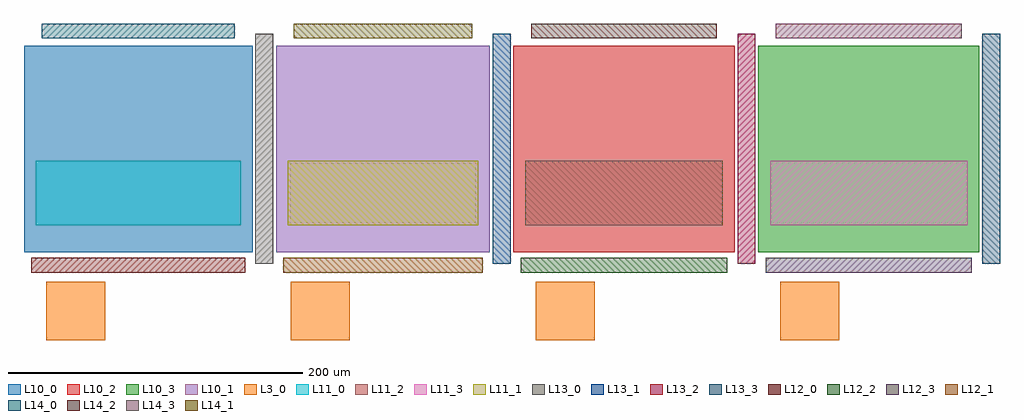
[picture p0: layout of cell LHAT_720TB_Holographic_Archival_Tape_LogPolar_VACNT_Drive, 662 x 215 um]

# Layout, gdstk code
import gdstk
lib = gdstk.Library(unit=1e-6, precision=1e-09)
def R(c, l, rs):  # rectangles x0, y0, x1, y1
    for r in rs: c.add(gdstk.rectangle(r[:2], r[2:], *l))
def A(c, l, x, y, w, h, nx, ny, dx, dy):  # array of equal rectangles
    R(c, l, [(x+i*dx, y+j*dy, x+i*dx+w, y+j*dy+h) for i in range(nx) for j in range(ny)])
L3_0 = (3, 0)
L10_0 = (10, 0)
L10_1 = (10, 1)
L10_2 = (10, 2)
L10_3 = (10, 3)
L11_0 = (11, 0)
L11_1 = (11, 1)
L11_2 = (11, 2)
L11_3 = (11, 3)
L12_0 = (12, 0)
L12_1 = (12, 1)
L12_2 = (12, 2)
L12_3 = (12, 3)
L13_0 = (13, 0)
L13_1 = (13, 1)
L13_2 = (13, 2)
L13_3 = (13, 3)
L14_0 = (14, 0)
L14_1 = (14, 1)
L14_2 = (14, 2)
L14_3 = (14, 3)

lhat_720tb_holographic_a = lib.new_cell('LHAT_720TB_Holographic_Archival_Tape_LogPolar_VACNT_Drive')
A(lhat_720tb_holographic_a, L3_0, 15, -60, 40, 40, 4, 1, 166, 0)
R(lhat_720tb_holographic_a, L10_0, [(0,0,155,140)])
R(lhat_720tb_holographic_a, L10_1, [(171,0,316,140)])
R(lhat_720tb_holographic_a, L10_2, [(332,0,482,140)])
R(lhat_720tb_holographic_a, L10_3, [(498,0,648,140)])
R(lhat_720tb_holographic_a, L11_0, [(8,18,147,62)])
R(lhat_720tb_holographic_a, L11_1, [(179,18,308,62)])
R(lhat_720tb_holographic_a, L11_2, [(340,18,474,62)])
R(lhat_720tb_holographic_a, L11_3, [(506,18,640,62)])
R(lhat_720tb_holographic_a, L12_0, [(5,-14,150,-4)])
R(lhat_720tb_holographic_a, L12_1, [(176,-14,311,-4)])
R(lhat_720tb_holographic_a, L12_2, [(337,-14,477,-4)])
R(lhat_720tb_holographic_a, L12_3, [(503,-14,643,-4)])
R(lhat_720tb_holographic_a, L13_0, [(157,-8,169,148)])
R(lhat_720tb_holographic_a, L13_1, [(318,-8,330,148)])
R(lhat_720tb_holographic_a, L13_2, [(484,-8,496,148)])
R(lhat_720tb_holographic_a, L13_3, [(650,-8,662,148)])
R(lhat_720tb_holographic_a, L14_0, [(12,145,143,155)])
R(lhat_720tb_holographic_a, L14_1, [(183,145,304,155)])
R(lhat_720tb_holographic_a, L14_2, [(344,145,470,155)])
R(lhat_720tb_holographic_a, L14_3, [(510,145,636,155)])

lib.write_gds('LHAT_720TB_Holographic_Archival_Tape_LogPolar_VACNT_Drive.gds')
